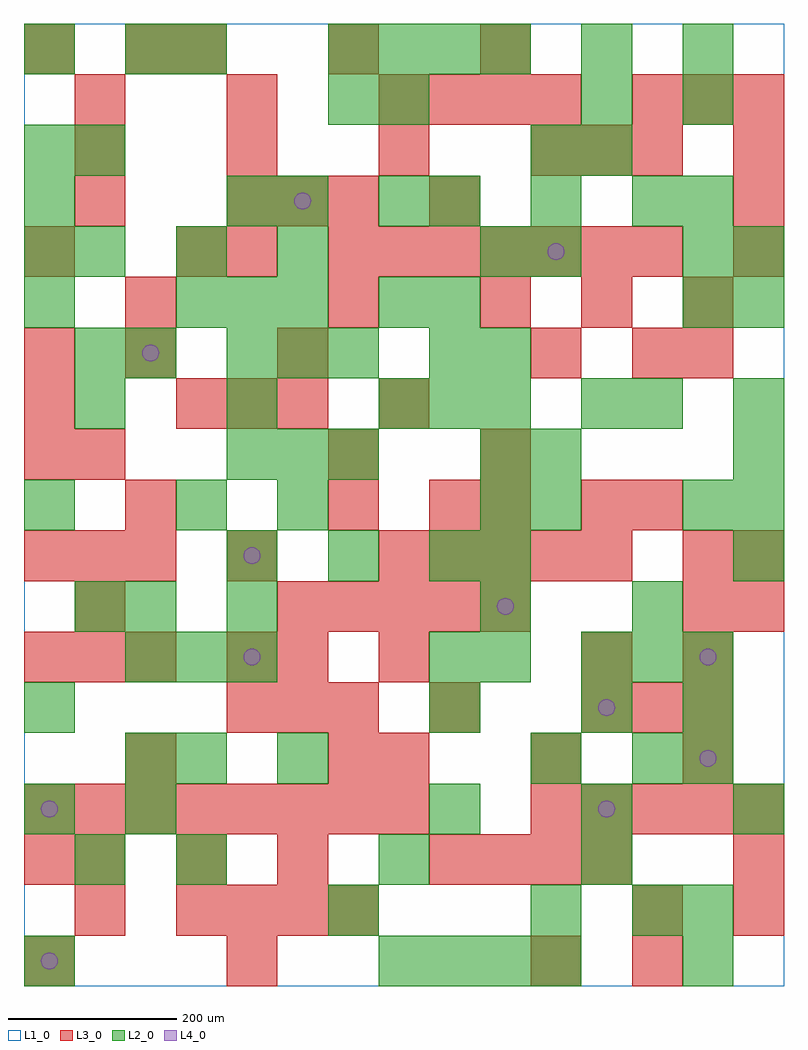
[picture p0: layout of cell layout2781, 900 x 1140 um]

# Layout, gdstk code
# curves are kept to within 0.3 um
import gdstk
lib = gdstk.Library(unit=1e-6, precision=1e-09)
def R(c, l, rs):  # rectangles x0, y0, x1, y1
    for r in rs: c.add(gdstk.rectangle(r[:2], r[2:], *l))
def A(c, l, x, y, w, h, nx, ny, dx, dy):  # array of equal rectangles
    R(c, l, [(x+i*dx, y+j*dy, x+i*dx+w, y+j*dy+h) for i in range(nx) for j in range(ny)])
def P(c, l, *ps):  # polygons
    for p in ps: c.add(gdstk.Polygon(p, *l))
L1_0 = (1, 0)
L2_0 = (2, 0)
L3_0 = (3, 0)
L4_0 = (4, 0)

layout2781 = lib.new_cell('layout2781')
R(layout2781, L1_0, [(0,0,900,1140)])
A(layout2781, L2_0, 420, 0, 60, 60, 4, 1, 60, 0)
A(layout2781, L2_0, 720, 60, 60, 60, 1, 3, 0, 180)
A(layout2781, L2_0, 60, 120, 60, 60, 1, 3, 0, 300)
A(layout2781, L2_0, 180, 120, 60, 60, 3, 1, 240, 0)
A(layout2781, L2_0, 480, 180, 60, 60, 3, 1, 180, 0)
A(layout2781, L2_0, 0, 300, 60, 60, 1, 3, 0, 240)
A(layout2781, L2_0, 780, 300, 60, 60, 1, 3, 0, 240)
A(layout2781, L2_0, 120, 360, 60, 60, 3, 1, 60, 0)
A(layout2781, L2_0, 540, 360, 60, 60, 1, 7, 0, 60)
A(layout2781, L2_0, 660, 360, 60, 60, 3, 1, 60, 0)
A(layout2781, L2_0, 240, 480, 60, 60, 3, 1, 120, 0)
A(layout2781, L2_0, 840, 480, 60, 60, 1, 4, 0, 60)
A(layout2781, L2_0, 240, 600, 60, 60, 3, 2, 60, 120)
A(layout2781, L2_0, 60, 660, 60, 60, 3, 1, 180, 0)
A(layout2781, L2_0, 480, 660, 60, 60, 1, 3, 0, 60)
A(layout2781, L2_0, 180, 780, 60, 60, 3, 1, 60, 0)
A(layout2781, L2_0, 420, 780, 60, 60, 1, 3, 0, 120)
A(layout2781, L2_0, 0, 840, 60, 60, 1, 3, 0, 60)
A(layout2781, L2_0, 60, 840, 60, 60, 3, 1, 120, 0)
A(layout2781, L2_0, 480, 900, 60, 60, 3, 1, 120, 0)
A(layout2781, L2_0, 660, 960, 60, 60, 1, 3, 0, 60)
A(layout2781, L2_0, 360, 1080, 60, 60, 4, 1, 60, 0)
R(layout2781, L2_0, [(0,0,60,60), (780,0,840,60), (360,60,420,120), (600,60,660,120), (780,60,840,120), (0,180,60,240), (120,180,180,240), (120,240,180,300), (180,240,240,300), (300,240,360,300), (600,240,660,300), (780,240,840,300), (480,300,540,360), (660,300,720,360), (480,360,540,420), (120,420,180,480), (240,420,300,480), (180,540,240,600), (300,540,360,600), (600,540,660,600), (600,600,660,660), (660,660,720,720), (720,660,780,720), (120,720,180,780), (840,780,900,840), (540,840,600,900), (600,840,660,900), (780,840,840,900), (840,840,900,900), (240,900,300,960), (300,900,360,960), (780,900,840,960), (60,960,120,1020), (600,960,660,1020), (360,1020,420,1080), (780,1020,840,1080), (0,1080,60,1140), (120,1080,180,1140), (180,1080,240,1140), (780,1080,840,1140)])
A(layout2781, L3_0, 180, 60, 60, 60, 4, 1, 60, 0)
A(layout2781, L3_0, 60, 120, 60, 60, 3, 1, 120, 0)
A(layout2781, L3_0, 480, 120, 60, 60, 4, 1, 60, 0)
A(layout2781, L3_0, 0, 180, 60, 60, 8, 1, 60, 0)
A(layout2781, L3_0, 600, 180, 60, 60, 5, 1, 60, 0)
A(layout2781, L3_0, 420, 240, 60, 60, 3, 1, 180, 0)
A(layout2781, L3_0, 240, 300, 60, 60, 3, 2, 60, 600)
A(layout2781, L3_0, 660, 300, 60, 60, 3, 1, 60, 0)
A(layout2781, L3_0, 0, 360, 60, 60, 3, 2, 60, 120)
A(layout2781, L3_0, 780, 360, 60, 60, 1, 3, 0, 60)
A(layout2781, L3_0, 300, 420, 60, 60, 5, 1, 60, 0)
A(layout2781, L3_0, 420, 480, 60, 60, 5, 1, 60, 0)
A(layout2781, L3_0, 0, 600, 60, 60, 1, 3, 0, 60)
A(layout2781, L3_0, 180, 660, 60, 60, 3, 1, 60, 0)
A(layout2781, L3_0, 540, 780, 60, 60, 3, 1, 120, 0)
A(layout2781, L3_0, 360, 840, 60, 60, 7, 1, 60, 0)
A(layout2781, L3_0, 840, 840, 60, 60, 1, 3, 0, 60)
A(layout2781, L3_0, 60, 960, 60, 60, 4, 1, 180, 0)
A(layout2781, L3_0, 60, 1020, 60, 60, 3, 1, 180, 0)
A(layout2781, L3_0, 480, 1020, 60, 60, 3, 1, 60, 0)
A(layout2781, L3_0, 720, 1020, 60, 60, 3, 1, 60, 0)
A(layout2781, L3_0, 180, 1080, 60, 60, 3, 1, 180, 0)
R(layout2781, L3_0, [(0,0,60,60), (240,0,300,60), (600,0,660,60), (720,0,780,60), (60,60,120,120), (720,60,780,120), (840,60,900,120), (0,120,60,180), (840,120,900,180), (120,240,180,300), (360,240,420,300), (480,300,540,360), (240,360,300,420), (300,360,360,420), (420,360,480,420), (660,360,720,420), (60,420,120,480), (840,420,900,480), (240,480,300,540), (840,480,900,540), (120,540,180,600), (360,540,420,600), (480,540,540,600), (540,540,600,600), (660,540,720,600), (720,540,780,600), (60,600,120,660), (360,600,420,660), (540,600,600,660), (420,660,480,720), (120,720,180,780), (300,720,360,780), (600,720,660,780), (720,720,780,780), (780,720,840,780), (120,780,180,840), (360,780,420,840), (0,840,60,900), (180,840,240,900), (240,840,300,900), (60,900,120,960), (480,900,540,960), (660,960,720,1020), (720,960,780,1020), (0,1080,60,1140), (120,1080,180,1140)])
P(layout2781, L4_0, [(40,30),(39.239,33.827),(37.071,37.071),(33.827,39.239),(30,40),(26.173,39.239),(22.929,37.071),(20.761,33.827),(20,30),(20.761,26.173),(22.929,22.929),(26.173,20.761),(30,20),(33.827,20.761),(37.071,22.929),(39.239,26.173)],
  [(40,210),(39.239,213.827),(37.071,217.071),(33.827,219.239),(30,220),(26.173,219.239),(22.929,217.071),(20.761,213.827),(20,210),(20.761,206.173),(22.929,202.929),(26.173,200.761),(30,200),(33.827,200.761),(37.071,202.929),(39.239,206.173)],
  [(160,750),(159.239,753.827),(157.071,757.071),(153.827,759.239),(150,760),(146.173,759.239),(142.929,757.071),(140.761,753.827),(140,750),(140.761,746.173),(142.929,742.929),(146.173,740.761),(150,740),(153.827,740.761),(157.071,742.929),(159.239,746.173)],
  [(280,390),(279.239,393.827),(277.071,397.071),(273.827,399.239),(270,400),(266.173,399.239),(262.929,397.071),(260.761,393.827),(260,390),(260.761,386.173),(262.929,382.929),(266.173,380.761),(270,380),(273.827,380.761),(277.071,382.929),(279.239,386.173)],
  [(280,510),(279.239,513.827),(277.071,517.071),(273.827,519.239),(270,520),(266.173,519.239),(262.929,517.071),(260.761,513.827),(260,510),(260.761,506.173),(262.929,502.929),(266.173,500.761),(270,500),(273.827,500.761),(277.071,502.929),(279.239,506.173)],
  [(340,930),(339.239,933.827),(337.071,937.071),(333.827,939.239),(330,940),(326.173,939.239),(322.929,937.071),(320.761,933.827),(320,930),(320.761,926.173),(322.929,922.929),(326.173,920.761),(330,920),(333.827,920.761),(337.071,922.929),(339.239,926.173)],
  [(580,450),(579.239,453.827),(577.071,457.071),(573.827,459.239),(570,460),(566.173,459.239),(562.929,457.071),(560.761,453.827),(560,450),(560.761,446.173),(562.929,442.929),(566.173,440.761),(570,440),(573.827,440.761),(577.071,442.929),(579.239,446.173)],
  [(640,870),(639.239,873.827),(637.071,877.071),(633.827,879.239),(630,880),(626.173,879.239),(622.929,877.071),(620.761,873.827),(620,870),(620.761,866.173),(622.929,862.929),(626.173,860.761),(630,860),(633.827,860.761),(637.071,862.929),(639.239,866.173)],
  [(700,210),(699.239,213.827),(697.071,217.071),(693.827,219.239),(690,220),(686.173,219.239),(682.929,217.071),(680.761,213.827),(680,210),(680.761,206.173),(682.929,202.929),(686.173,200.761),(690,200),(693.827,200.761),(697.071,202.929),(699.239,206.173)],
  [(700,330),(699.239,333.827),(697.071,337.071),(693.827,339.239),(690,340),(686.173,339.239),(682.929,337.071),(680.761,333.827),(680,330),(680.761,326.173),(682.929,322.929),(686.173,320.761),(690,320),(693.827,320.761),(697.071,322.929),(699.239,326.173)],
  [(820,270),(819.239,273.827),(817.071,277.071),(813.827,279.239),(810,280),(806.173,279.239),(802.929,277.071),(800.761,273.827),(800,270),(800.761,266.173),(802.929,262.929),(806.173,260.761),(810,260),(813.827,260.761),(817.071,262.929),(819.239,266.173)],
  [(820,390),(819.239,393.827),(817.071,397.071),(813.827,399.239),(810,400),(806.173,399.239),(802.929,397.071),(800.761,393.827),(800,390),(800.761,386.173),(802.929,382.929),(806.173,380.761),(810,380),(813.827,380.761),(817.071,382.929),(819.239,386.173)])

lib.write_gds('layout2781.gds')
